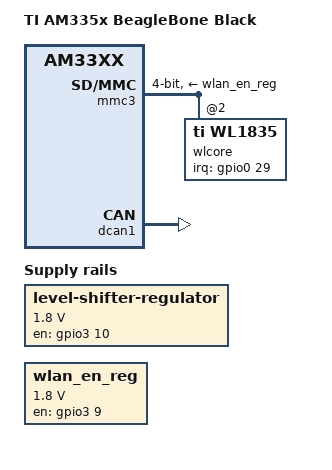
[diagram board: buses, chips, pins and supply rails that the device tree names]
// SPDX-License-Identifier: GPL-2.0-only
/*
 * Copyright (C) 2012 Texas Instruments Incorporated - https://www.ti.com/
 */
/dts-v1/;

#include "am33xx.dtsi"
#include "am335x-bone-common.dtsi"
#include "am335x-boneblack-common.dtsi"
#include "am335x-boneblack-hdmi.dtsi"
#include <dt-bindings/interrupt-controller/irq.h>

/ {
	model = "TI AM335x BeagleBone Black";
	compatible = "ti,am335x-bone-black", "ti,am335x-bone", "ti,am33xx";
	/* HWREV inputs float on BBB which causes them to read high */
	min-pcb-rev = <0x0f>;
	min-bom-rev = <0x07>;
};

&mmc3 {
	/* these are on the crossbar and are outlined in the
	 * xbar-event-map element
	 */
	dmas = <&edma_xbar 12 0 1
		&edma_xbar 13 0 2>;
	dma-names = "tx", "rx";
	status = "okay";
	vmmc-supply = <&wlan_en_reg>;
	bus-width = <4>;
	pinctrl-names = "default";
	pinctrl-0 = <&mmc3_pins &wlan_pins>;
	ti,non-removable;
	ti,needs-special-hs-handling;
	cap-power-off-card;
	keep-power-in-suspend;

	#address-cells = <1>;
	#size-cells = <0>;
	wlcore: wlcore@2 {
		compatible = "ti,wl1835";
		reg = <2>;
		regulator-always-on;
		interrupt-parent = <&gpio0>;
		interrupts = <29 IRQ_TYPE_LEVEL_HIGH>;
	};
};

&cpu0_opp_table {
	/*
	 * All PG 2.0 silicon may not support 1GHz but some of the early
	 * BeagleBone Blacks have PG 2.0 silicon which is guaranteed
	 * to support 1GHz OPP so enable it for PG 2.0 on this board.
	 */
	oppnitro-1000000000 {
		opp-supported-hw = <0x06 0x0100>;
	};
};


&am33xx_pinmux {

	mmc3_pins: pinmux_mmc3_pins {
		pinctrl-single,pins = <
			AM33XX_IOPAD(0x918, PIN_INPUT_PULLUP | MUX_MODE5)     /* mii1_rxdv.mmc2_dat0 */
			AM33XX_IOPAD(0x91C, PIN_INPUT_PULLUP | MUX_MODE5)     /* mii1_txd3.mmc2_dat1 */
			AM33XX_IOPAD(0x920, PIN_INPUT_PULLUP | MUX_MODE5)     /* mii1_txd2.mmc2_dat2 */
			AM33XX_IOPAD(0x908, PIN_INPUT_PULLUP | MUX_MODE5)     /* mii1_col.mmc2_dat3 */
			AM33XX_IOPAD(0x914, PIN_INPUT_PULLUP | MUX_MODE6)     /* mii1_txen.mmc2_cmd */
			AM33XX_IOPAD(0x93C, PIN_INPUT_PULLUP | MUX_MODE6)     /* mii1_rxd1.mmc2_clk */
		>;
	};

	wlan_pins: pinmux_wlan_pins {
		pinctrl-single,pins = <
			AM33XX_IOPAD(0x92C, PIN_OUTPUT_PULLDOWN | MUX_MODE7)  /* mii1_tx_clk.gpio3_9 */    /* WLAN ENABLE */
			AM33XX_IOPAD(0x944, PIN_INPUT | MUX_MODE7)            /* rmii1_ref_clk.gpio0_29 */ /* WLAN IRQ */
			AM33XX_IOPAD(0x928, PIN_OUTPUT_PULLDOWN | MUX_MODE7)  /* mii1_txd0.gpio0_28 */     /* BT ENABLE */
			AM33XX_IOPAD(0x930, PIN_OUTPUT_PULLDOWN | MUX_MODE7)  /* mii1_rxclk.gpio3_10 */    /* LS_BUF_OE */
		>;
	};
	can1_pins: pinmux_can1_pins {
		pinctrl-single,pins = <
			0x180 (PIN_OUTPUT_PULLUP | MUX_MODE2)      /* uart1_rxd.dcan1_tx */
			0x184 (PIN_INPUT_PULLUP | MUX_MODE2)     /* uart1_txd.dcan1_rx */
		>;
	};

};

&dcan1 {
	pinctrl-names = "default";
	pinctrl-0 = <&can1_pins>;
	status = "ok";
};

&cpsw_emac0 {
	status = "disabled";
};

&cpsw_emac1 {
	status = "disabled";
};

&mac {
	status = "disabled";
};


/ {
	/* This is used to force the MMC/BT level shifter on */
	fixedregulator@1 {
		status = "okay";
		regulator-always-on;
		compatible = "regulator-fixed";
		regulator-name = "level-shifter-regulator";
		regulator-min-microvolt = <1800000>;
		regulator-max-microvolt = <1800000>;

		/* LS_BUF_OE (BBB specific) - Bank3, pin10 */
		gpio = <&gpio3 10 0>;

		/* WLAN card specific delay */
		startup-delay-us = <70000>;
		enable-active-high;
	};

	wlan_en_reg: fixedregulator@2 {
		status = "okay";
		compatible = "regulator-fixed";
		regulator-name = "wlan-en-regulator";
		regulator-min-microvolt = <1800000>;
		regulator-max-microvolt = <1800000>;

		/* WLAN_EN GPIO for this board - Bank3, pin9 */
		gpio = <&gpio3 9 0>;

		/* WLAN card specific delay */
		startup-delay-us = <70000>;
		enable-active-high;
	};
};

&gpio0 {
	gpio-line-names =
		"[mdio_data]",
		"[mdio_clk]",
		"P9_22 [spi0_sclk]",
		"P9_21 [spi0_d0]",
		"P9_18 [spi0_d1]",
		"P9_17 [spi0_cs0]",
		"[mmc0_cd]",
		"P8_42A [ecappwm0]",
		"P8_35 [lcd d12]",
		"P8_33 [lcd d13]",
		"P8_31 [lcd d14]",
		"P8_32 [lcd d15]",
		"P9_20 [i2c2_sda]",
		"P9_19 [i2c2_scl]",
		"P9_26 [uart1_rxd]",
		"P9_24 [uart1_txd]",
		"[rmii1_txd3]",
		"[rmii1_txd2]",
		"[usb0_drvvbus]",
		"[hdmi cec]",
		"P9_41B",
		"[rmii1_txd1]",
		"P8_19 [ehrpwm2a]",
		"P8_13 [ehrpwm2b]",
		"NC",
		"NC",
		"P8_14",
		"P8_17",
		"[rmii1_txd0]",
		"[rmii1_refclk]",
		"P9_11 [uart4_rxd]",
		"P9_13 [uart4_txd]";
};

&gpio1 {
	gpio-line-names =
		"P8_25 [mmc1_dat0]",
		"[mmc1_dat1]",
		"P8_5 [mmc1_dat2]",
		"P8_6 [mmc1_dat3]",
		"P8_23 [mmc1_dat4]",
		"P8_22 [mmc1_dat5]",
		"P8_3 [mmc1_dat6]",
		"P8_4 [mmc1_dat7]",
		"NC",
		"NC",
		"NC",
		"NC",
		"P8_12",
		"P8_11",
		"P8_16",
		"P8_15",
		"P9_15A",
		"P9_23",
		"P9_14 [ehrpwm1a]",
		"P9_16 [ehrpwm1b]",
		"[emmc rst]",
		"[usr0 led]",
		"[usr1 led]",
		"[usr2 led]",
		"[usr3 led]",
		"[hdmi irq]",
		"[usb vbus oc]",
		"[hdmi audio]",
		"P9_12",
		"P8_26",
		"P8_21 [emmc]",
		"P8_20 [emmc]";
};

&gpio2 {
	gpio-line-names =
		"P9_15B",
		"P8_18",
		"P8_7",
		"P8_8",
		"P8_10",
		"P8_9",
		"P8_45 [hdmi]",
		"P8_46 [hdmi]",
		"P8_43 [hdmi]",
		"P8_44 [hdmi]",
		"P8_41 [hdmi]",
		"P8_42 [hdmi]",
		"P8_39 [hdmi]",
		"P8_40 [hdmi]",
		"P8_37 [hdmi]",
		"P8_38 [hdmi]",
		"P8_36 [hdmi]",
		"P8_34 [hdmi]",
		"[rmii1_rxd3]",
		"[rmii1_rxd2]",
		"[rmii1_rxd1]",
		"[rmii1_rxd0]",
		"P8_27 [hdmi]",
		"P8_29 [hdmi]",
		"P8_28 [hdmi]",
		"P8_30 [hdmi]",
		"[mmc0_dat3]",
		"[mmc0_dat2]",
		"[mmc0_dat1]",
		"[mmc0_dat0]",
		"[mmc0_clk]",
		"[mmc0_cmd]";
};

&gpio3 {
	gpio-line-names =
		"[mii col]",
		"[mii crs]",
		"[mii rx err]",
		"[mii tx en]",
		"[mii rx dv]",
		"[i2c0 sda]",
		"[i2c0 scl]",
		"[jtag emu0]",
		"[jtag emu1]",
		"[mii tx clk]",
		"[mii rx clk]",
		"NC",
		"NC",
		"[usb vbus en]",
		"P9_31 [spi1_sclk]",
		"P9_29 [spi1_d0]",
		"P9_30 [spi1_d1]",
		"P9_28 [spi1_cs0]",
		"P9_42B [ecappwm0]",
		"P9_27",
		"P9_41A",
		"P9_25",
		"NC",
		"NC",
		"NC",
		"NC",
		"NC",
		"NC",
		"NC",
		"NC",
		"NC",
		"NC";
};
